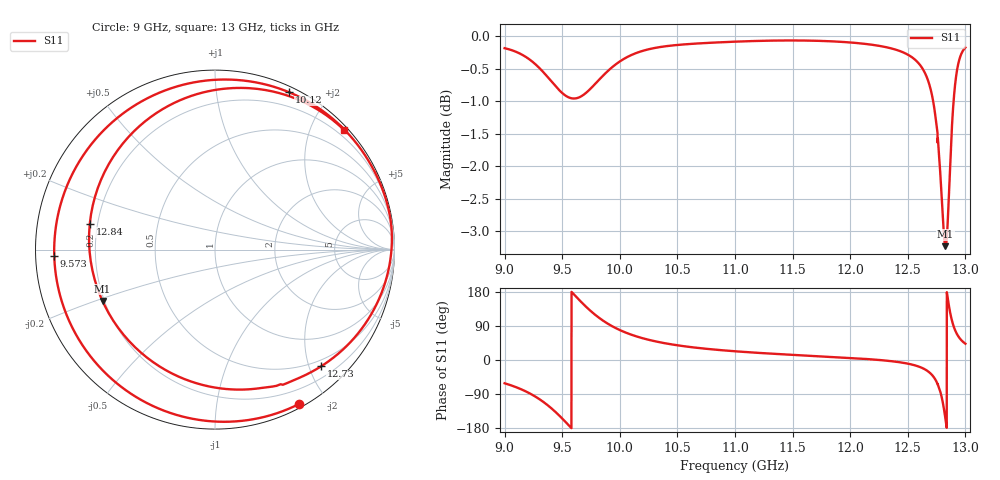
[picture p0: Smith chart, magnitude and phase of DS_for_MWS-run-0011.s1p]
! TOUCHSTONE file generated by CST DESIGN STUDIO
! Date and time: Tue Feb  4 16:48:32 2025
! Project name: C:\Work\MatlabApps\UnitCellOptimizationMatlab\CST\unitcell.cst
! Tree item: Tasks\Sweep1\SPara1\S-Parameters
! Header version: 2024
! Port assignment regex: !\s*Touchstone port\s*([0-9]+)\s*=\s*(CST MWS port|CST DES external port|CST DES block port)\s*(.+)\s* \(\"(.*)\"\)(\s*mode\s*([0-9]+))?.*
! Touchstone port assignment:
! Touchstone port 1 = CST DES external port 1 ("")
# GHz S MA R 50
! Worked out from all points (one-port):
!   4001 points, 9 GHz to 13 GHz, reference 50 ohm
!   lowest |S11| = -3.2 dB at 12.83 GHz (marker M1), VSWR 5.43, Z = 9.62 - j10.5 ohm
!   |S11| at or under -10 dB: nowhere
!   S11 on the Smith chart (normalised r, x): 9 GHz: 0.04, -1.68; 9.573 GHz: 0.05, -0.02; 10.12 GHz: 0.05, +1.57; 12.73 GHz: 0.39, -2.21; 12.84 GHz: 0.17, +0.10; 13 GHz: 0.07, +2.54
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9  0.9793 -61.4
9.151  0.9681 -78.2
9.301  0.9456 -103.1
9.402  0.9242 -126.4
9.5  0.9044 -154.4
9.573  0.8963 -177.6
9.662  0.8988 154.0
9.776  0.9171 121.8
9.876  0.9368 99.6
10  0.9565 79.0
10.119  0.9691 64.8
10.289  0.9791 50.6
10.5  0.9849 38.8
11  0.9907 23.0
11.5  0.9928 13.6
12  0.9893 5.4
12.5  0.9682 -9.6
12.651  0.9363 -25.1
12.731  0.8792 -47.6
12.761  0.8345 -64.9
12.789  0.7659 -91.2
12.808  0.7156 -118.8
12.827  0.6891 -155.4
12.844  0.7123 168.4
12.87  0.8062 121.6
12.896  0.8876 90.7
12.942  0.9558 60.9
13  0.9804 43.0
